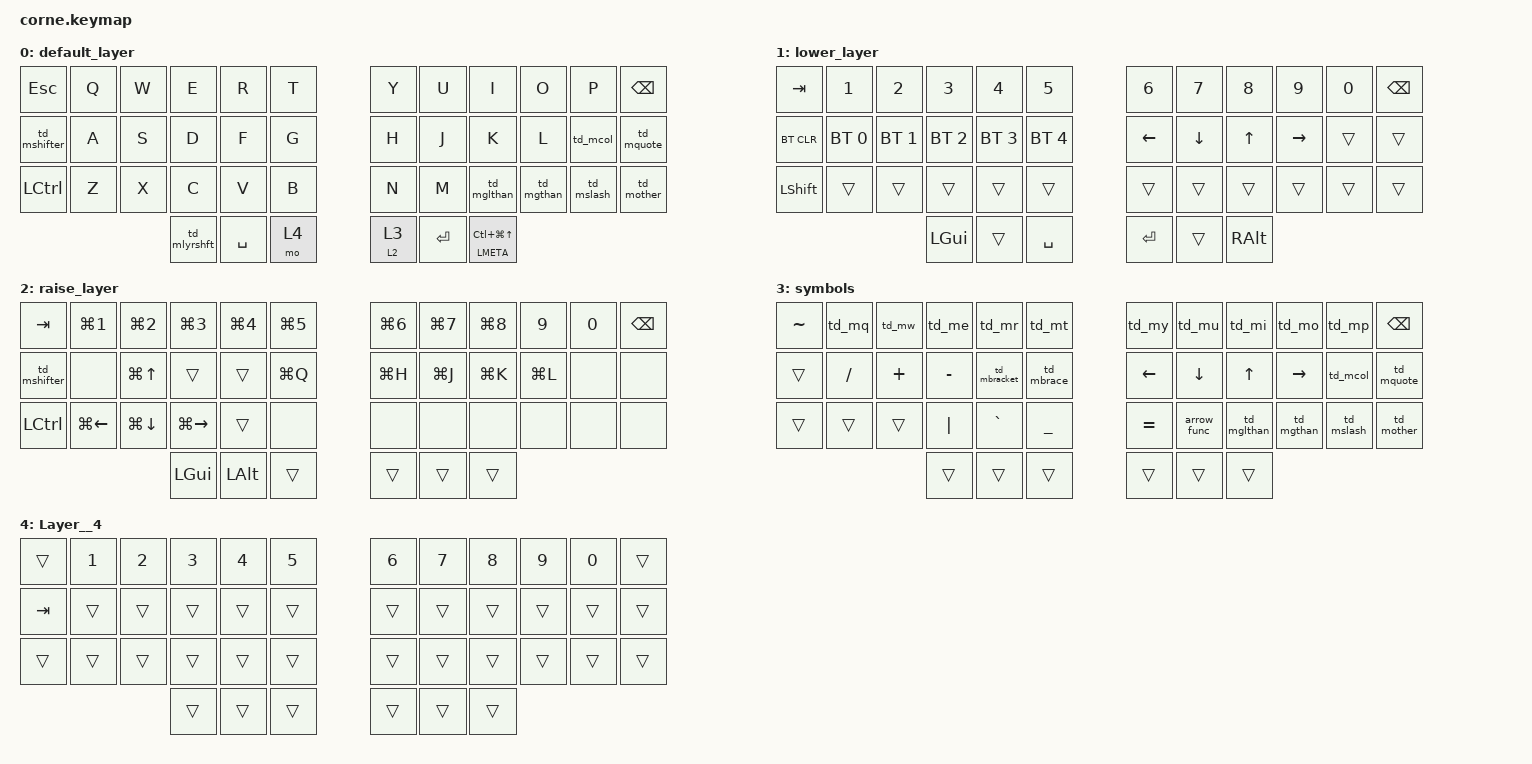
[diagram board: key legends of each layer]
/*
 * Copyright (c) 2020 The ZMK Contributors
 *
 * SPDX-License-Identifier: MIT
 */

#include <behaviors.dtsi>
#include <dt-bindings/zmk/keys.h>
#include <dt-bindings/zmk/bt.h>

#define MO_TOG(layer) &mo_tog layer layer

/ {
    behaviors {
        mo_tog: behavior_mo_tog {
            compatible = "zmk,behavior-hold-tap";
            label = "mo_tog";
            #binding-cells = <2>;
            flavor = "hold-preferred";
            tapping-term-ms = <200>;
            bindings =
                <&mo>,
                <&tog>;
        };
        td_mshft: tap_dance_mod_tap {
            compatible = "zmk,behavior-tap-dance";
            label = "TAP_DANCE_MOD_TAP";
            #binding-cells = <0>;
            tapping-term-ms = <200>;
            bindings =
                <&mt LSHIFT CAPSLOCK>,
                <&kp LCTRL>;
        };
        td_mq: tap_dance_q {
            compatible = "zmk,behavior-tap-dance";
            label = "Q";
            #binding-cells = <0>;
            tapping-term-ms = <200>;
            bindings =
                <&kp N1>,
                <&kp EXCL>;
        };
        td_mw: tap_dance_w {
            compatible = "zmk,behavior-tap-dance";
            label = "W";
            #binding-cells = <0>;
            tapping-term-ms = <200>;
            bindings =
                <&kp N2>,
                <&kp AT>;
        };
        td_me: tap_dance_e {
            compatible = "zmk,behavior-tap-dance";
            label = "E";
            #binding-cells = <0>;
            tapping-term-ms = <200>;
            bindings =
                <&kp N3>,
                <&kp HASH>;
        };
        td_mr: tap_dance_r {
            compatible = "zmk,behavior-tap-dance";
            label = "R";
            #binding-cells = <0>;
            tapping-term-ms = <200>;
            bindings =
                <&kp N4>,
                <&kp DOLLAR>;
        };
        td_mt: tap_dance_t {
            compatible = "zmk,behavior-tap-dance";
            label = "T";
            #binding-cells = <0>;
            tapping-term-ms = <200>;
            bindings =
                <&kp N5>,
                <&kp PERCENT>;
        };
        td_my: tap_dance_y {
            compatible = "zmk,behavior-tap-dance";
            label = "Y";
            #binding-cells = <0>;
            tapping-term-ms = <200>;
            bindings =
                <&kp N6>,
                <&kp CARET>;
        };
        td_mu: tap_dance_u {
            compatible = "zmk,behavior-tap-dance";
            label = "U";
            #binding-cells = <0>;
            tapping-term-ms = <200>;
            bindings =
                <&kp N7>,
                <&kp AMPERSAND>;
        };
        td_mi: tap_dance_i {
            compatible = "zmk,behavior-tap-dance";
            label = "I";
            #binding-cells = <0>;
            tapping-term-ms = <200>;
            bindings =
                <&kp N8>,
                <&kp ASTERISK>;
        };
        td_mo: tap_dance_o {
            compatible = "zmk,behavior-tap-dance";
            label = "O";
            #binding-cells = <0>;
            tapping-term-ms = <200>;
            bindings =
                <&kp N9>,
                <&kp LEFT_PARENTHESIS>;
        };
        td_mp: tap_dance_p {
            compatible = "zmk,behavior-tap-dance";
            label = "P";
            #binding-cells = <0>;
            tapping-term-ms = <200>;
            bindings =
                <&kp N0>,
                <&kp RIGHT_PARENTHESIS>;
        };
        td_mcol: tap_dance_mcol {
            compatible = "zmk,behavior-tap-dance";
            label = "COL";
            #binding-cells = <0>;
            tapping-term-ms = <200>;
            bindings =
                <&kp SEMICOLON>,
                <&kp COLON>;
        };
        td_mquote: tap_dance_mquote {
            compatible = "zmk,behavior-tap-dance";
            label = "QUOTE";
            #binding-cells = <0>;
            tapping-term-ms = <200>;
            bindings =
                <&mt DOUBLE_QUOTES APOSTROPHE>,
                <&kp GRAVE>;
        };
        td_mslash: tap_dance_mslash {
            compatible = "zmk,behavior-tap-dance";
            label = "SLASH";
            #binding-cells = <0>;
            tapping-term-ms = <200>;
            bindings =
                <&mt QUESTION SLASH>,
                <&kp BACKSLASH>;
        };
        td_mgthan: tap_dance_mgthan {
            compatible = "zmk,behavior-tap-dance";
            label = "GTHAN";
            #binding-cells = <0>;
            tapping-term-ms = <200>;
            bindings =
                <&mt GREATER_THAN DOT>,
                <&kp EQUAL>;
        };
        td_mglthan: tap_dance_mlthan {
            compatible = "zmk,behavior-tap-dance";
            label = "LTHAN";
            #binding-cells = <0>;
            tapping-term-ms = <200>;
            bindings =
                <&mt LESS_THAN COMMA>,
                <&kp EQUAL>;
        };
        td_mother: tap_dance_mother {
            compatible = "zmk,behavior-tap-dance";
            label = "OTHER";
            #binding-cells = <0>;
            tapping-term-ms = <200>;
            bindings =
                <&mt PIPE MINUS>,
                <&kp UNDERSCORE>;
        };
        td_mlyrshft: tap_dance_lyrshft {
            compatible = "zmk,behavior-tap-dance";
            label = "LYRSHFT";
            #binding-cells = <0>;
            tapping-term-ms = <200>;
            bindings =
                <&kp TAB>,
                <&tog 3>;
        };
        td_mshifter: tap_dance_shifter {
            compatible = "zmk,behavior-tap-dance";
            label = "SUPERSHIFT";
            #binding-cells = <0>;
            tapping-term-ms = <200>;
            bindings =
                <&sk LEFT_SHIFT>,
                <&kt LEFT_SHIFT>;
        };
        td_mbrace: tap_dance_mbrace {
            compatible = "zmk,behavior-tap-dance";
            label = "BRACES";
            #binding-cells = <0>;
            tapping-term-ms = <200>;
            bindings =
                <&kp LEFT_BRACE>,
                <&kp RIGHT_BRACE>;
        };
        td_mbracket: tap_dance_mbracket {
            compatible = "zmk,behavior-tap-dance";
            label = "BRACKETS";
            #binding-cells = <0>;
            tapping-term-ms = <200>;
            bindings =
                <&kp LEFT_BRACKET>,
                <&kp RIGHT_BRACKET>;
        };
    };

    macros {
        arrow_func: arrow_func {
            compatible = "zmk,behavior-macro";
            label = "arrow_func";
            #binding-cells = <0>;
            bindings =
                <&macro_tap>,
                <&kp EQUAL &kp GT &kp SPACE &kp LEFT_BRACE>;
        };
    };

    combos {
        compatible = "zmk,combos";

        new_combo {
            bindings = <&mo 1>;
            key-positions = <38 37>;
        };
    };

    keymap {
        compatible = "zmk,keymap";

        default_layer {
            // -----------------------------------------------------------------------------------------
            // |  TAB |  Q  |  W  |  E  |  R  |  T  |   |  Y  |  U   |  I  |  O  |  P  | BKSP |
            // | CTRL |  A  |  S  |  D  |  F  |  G  |   |  H  |  J   |  K  |  L  |  ;  |  '   |
            // | SHFT |  Z  |  X  |  C  |  V  |  B  |   |  N  |  M   |  ,  |  .  |  /  | ESC  |
            //                    | GUI | LWR | SPC |   | ENT | RSE  | ALT |

            bindings = <
      &kp ESCAPE  &kp Q  &kp W         &kp E      &kp R  &kp T        &kp Y    &kp U                 &kp I       &kp O       &kp P    &kp BSPC
    &td_mshifter  &kp A  &kp S         &kp D      &kp F  &kp G        &kp H    &kp J                 &kp K       &kp L    &td_mcol  &td_mquote
&kp LEFT_CONTROL  &kp Z  &kp X         &kp C      &kp V  &kp B        &kp N    &kp M           &td_mglthan  &td_mgthan  &td_mslash  &td_mother
                                &td_mlyrshft  &kp SPACE  &mo 4  &mo_tog 2 3  &kp RET  &mt LMETA LC(LG(UP))
            >;
        };

        lower_layer {
            // -----------------------------------------------------------------------------------------
            // |  TAB |  1  |  2  |  3  |  4  |  5  |   |  6  |  7  |  8  |  9  |  0  | BKSP |
            // | BTCLR| BT1 | BT2 | BT3 | BT4 | BT5 |   | LFT | DWN |  UP | RGT |     |      |
            // | SHFT |     |     |     |     |     |   |     |     |     |     |     |      |
            //                    | GUI |     | SPC |   | ENT |     | ALT |

            bindings = <
   &kp TAB        &kp N1        &kp N2        &kp N3        &kp N4        &kp N5    &kp N6    &kp N7    &kp N8     &kp N9  &kp N0  &kp BSPC
&bt BT_CLR  &bt BT_SEL 0  &bt BT_SEL 1  &bt BT_SEL 2  &bt BT_SEL 3  &bt BT_SEL 4  &kp LEFT  &kp DOWN    &kp UP  &kp RIGHT  &trans    &trans
 &kp LSHFT        &trans        &trans        &trans        &trans        &trans    &trans    &trans    &trans     &trans  &trans    &trans
                                            &kp LGUI        &trans     &kp SPACE   &kp RET    &trans  &kp RALT
            >;
        };

        raise_layer {
            // -----------------------------------------------------------------------------------------
            // |  TAB |  !  |  @  |  #  |  $  |  %  |   |  ^  |  &  |  *  |  (  |  )  | BKSP |
            // | CTRL |     |     |     |     |     |   |  -  |  =  |  [  |  ]  |  \  |  `   |
            // | SHFT |     |     |     |     |     |   |  _  |  +  |  {  |  }  | "|" |  ~   |
            //                    | GUI |     | SPC |   | ENT |     | ALT |

            bindings = <
         &kp TAB  &kp LG(NUMBER_1)    &kp LG(N2)     &kp LG(N3)    &kp LG(N4)  &kp LG(N5)  &kp LG(N6)  &kp LG(N7)  &kp LG(N8)     &kp N9  &kp N0  &kp BSPC
    &td_mshifter             &none    &kp LG(UP)         &trans        &trans   &kp LG(Q)   &kp LG(H)   &kp LG(J)   &kp LG(K)  &kp LG(L)   &none     &none
&kp LEFT_CONTROL      &kp LG(LEFT)  &kp LG(DOWN)  &kp LG(RIGHT)        &trans       &none       &none       &none       &none      &none   &none     &none
                                                   &kp LEFT_GUI  &kp LEFT_ALT      &trans      &trans      &trans      &trans
            >;
        };

        symbols {
            bindings = <
&kp TILDE     &td_mq    &td_mw     &td_me        &td_mr      &td_mt     &td_my       &td_mu       &td_mi      &td_mo      &td_mp  &kp BACKSPACE
   &trans  &kp SLASH  &kp PLUS  &kp MINUS  &td_mbracket  &td_mbrace   &kp LEFT     &kp DOWN       &kp UP   &kp RIGHT    &td_mcol     &td_mquote
   &trans     &trans    &trans   &kp PIPE     &kp GRAVE   &kp UNDER  &kp EQUAL  &arrow_func  &td_mglthan  &td_mgthan  &td_mslash     &td_mother
                                   &trans        &trans      &trans     &trans       &trans       &trans
            >;
        };

        Layer__4 {
            bindings = <
 &trans  &kp NUMBER_1  &kp NUMBER_2  &kp NUMBER_3  &kp NUMBER_4  &kp NUMBER_5  &kp NUMBER_6  &kp NUMBER_7  &kp N8  &kp NUMBER_9  &kp NUMBER_0  &trans
&kp TAB        &trans        &trans        &trans        &trans        &trans        &trans        &trans  &trans        &trans        &trans  &trans
 &trans        &trans        &trans        &trans        &trans        &trans        &trans        &trans  &trans        &trans        &trans  &trans
                                           &trans        &trans        &trans        &trans        &trans  &trans
            >;
        };
    };
};
